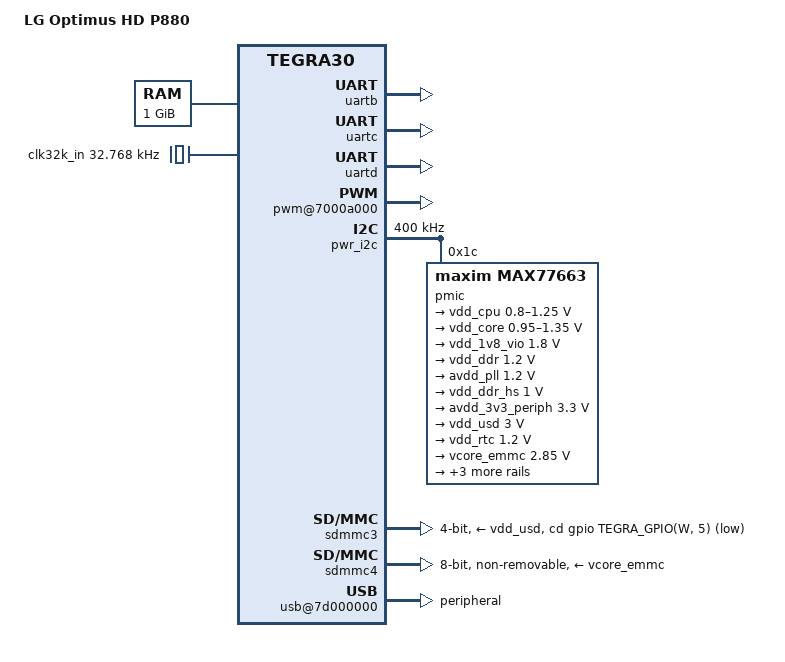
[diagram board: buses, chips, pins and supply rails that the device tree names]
// SPDX-License-Identifier: GPL-2.0
/dts-v1/;

#include <dt-bindings/input/gpio-keys.h>
#include <dt-bindings/input/input.h>
#include <dt-bindings/leds/common.h>
#include <dt-bindings/mfd/lm3533.h>
#include <dt-bindings/mfd/max77620.h>
#include <dt-bindings/thermal/thermal.h>

#include "tegra30.dtsi"
#include "tegra30-cpu-opp.dtsi"
#include "tegra30-cpu-opp-microvolt.dtsi"

/ {
	model = "LG Optimus HD P880";
	compatible = "lge,p880", "nvidia,tegra30";
	chassis-type = "handset";


	aliases {
		mmc0 = &sdmmc4; /* eMMC */
		mmc1 = &sdmmc1; /* WiFi */
		mmc2 = &sdmmc3; /* uSD slot */

		rtc0 = &pmic;
		rtc1 = "/rtc@7000e000";

		display0 = &lcd;
//		display1 = &hdmi;

		serial0 = &uartd; /* Console */
		serial1 = &uartc; /* Bluetooth */
		serial2 = &uartb; /* GPS */
	};

	/*
	 * The decompressor and also some bootloaders rely on a
	 * pre-existing /chosen node to be available to insert the
	 * command line and merge other ATAGS info.
	 */
	chosen { };

	memory@80000000 {
		reg = <0x80000000 0x40000000>;
	};

	reserved-memory {
		#address-cells = <1>;
		#size-cells = <1>;
		ranges;

		linux,cma@80000000 {
			compatible = "shared-dma-pool";
			alloc-ranges = <0x80000000 0x30000000>;
			size = <0x10000000>;		/* 256MiB */
			linux,cma-default;
			reusable;
		};

		ramoops@bed00000 {
			compatible = "ramoops";
			reg = <0xbed00000 0x10000>;	/* 64kB */
			console-size = <0x8000>;	/* 32kB */
			record-size = <0x400>;		/* 1kB */
			ecc-size = <16>;
		};

		trustzone@bfe00000 {
			reg = <0xbfe00000 0x200000>;	/* 2MB */
			no-map;
		};
	};

	vde@6001a000 {
		assigned-clocks = <&tegra_car TEGRA30_CLK_VDE>;
		assigned-clock-parents = <&tegra_car TEGRA30_CLK_PLL_P>;
		assigned-clock-rates = <408000000>;
	};

	uartb: serial@70006040 {
		compatible = "nvidia,tegra30-hsuart";
		/delete-property/ reg-shift;
		status = "okay";

		/* GNSS GSD5T */
	};

	uartc: serial@70006200 {
		compatible = "nvidia,tegra30-hsuart";
		/delete-property/ reg-shift;
		status = "okay";
	};

	uartd: serial@70006300 {
		compatible = "nvidia,tegra30-hsuart";
		/delete-property/ reg-shift;
		status = "okay";

		/* Console */
	};

	pwm@7000a000 {
		status = "okay";
	};

	pwr_i2c: i2c@7000d000 {
		status = "okay";
		clock-frequency = <400000>;

		pmic: max77663@1c {
			compatible = "maxim,max77663";
			reg = <0x1c>;

			interrupts = <GIC_SPI 86 IRQ_TYPE_LEVEL_HIGH>;
			#interrupt-cells = <2>;
			interrupt-controller;

			#gpio-cells = <2>;
			gpio-controller;

			system-power-controller;

			pinctrl-names = "default";
			pinctrl-0 = <&max77663_default>;

			max77663_default: pinmux {
				gpio1 {
					pins = "gpio1";
					function = "gpio";
					drive-open-drain = <1>;
				};

				gpio4 {
					pins = "gpio4";
					function = "32k-out1";
				};
			};

			fps {
				fps0 {
					maxim,fps-event-source = <MAX77620_FPS_EVENT_SRC_EN0>;
				};

				fps1 {
					maxim,fps-event-source = <MAX77620_FPS_EVENT_SRC_EN1>;
				};

				fps2 {
					maxim,fps-event-source = <MAX77620_FPS_EVENT_SRC_EN0>;
				};
			};

			regulators {
				in-sd0-supply = <&vdd_5v0_vbus>;
				in-sd1-supply = <&vdd_5v0_vbus>;
				in-sd2-supply = <&vdd_5v0_vbus>;
				in-sd3-supply = <&vdd_5v0_vbus>;

				in-ldo0-1-supply = <&vdd_1v8_vio>;
				in-ldo2-supply   = <&vdd_3v3_vbat>;
				in-ldo3-5-supply = <&vdd_3v3_vbat>;
				in-ldo4-6-supply = <&vdd_3v3_vbat>;
				in-ldo7-8-supply = <&vdd_1v8_vio>;

				vdd_cpu: sd0 {
					regulator-name = "vdd_cpu";
					regulator-min-microvolt = <800000>;
					regulator-max-microvolt = <1250000>;
					regulator-coupled-with = <&vdd_core>;
					regulator-coupled-max-spread = <300000>;
					regulator-max-step-microvolt = <100000>;
					regulator-always-on;
					regulator-boot-on;

					nvidia,tegra-cpu-regulator;
					maxim,active-fps-source = <MAX77620_FPS_SRC_NONE>;
				};

				vdd_core: sd1 {
					regulator-name = "vdd_core";
					regulator-min-microvolt = <950000>;
					regulator-max-microvolt = <1350000>;
					regulator-coupled-with = <&vdd_cpu>;
					regulator-coupled-max-spread = <300000>;
					regulator-max-step-microvolt = <100000>;
					regulator-always-on;
					regulator-boot-on;

					nvidia,tegra-core-regulator;
					maxim,active-fps-source = <MAX77620_FPS_SRC_1>;
				};

				vdd_1v8_vio: sd2 {
					regulator-name = "vdd_1v8_gen";
					regulator-min-microvolt = <1800000>;
					regulator-max-microvolt = <1800000>;
					regulator-always-on;
					regulator-boot-on;

					maxim,active-fps-source = <MAX77620_FPS_SRC_NONE>;
				};

				sd3 {
					regulator-name = "vdd_ddr";
					regulator-min-microvolt = <1200000>;
					regulator-max-microvolt = <1200000>;
					regulator-always-on;
					regulator-boot-on;

					maxim,active-fps-source = <MAX77620_FPS_SRC_NONE>;
				};

				ldo0 {
					regulator-name = "avdd_pll";
					regulator-min-microvolt = <1200000>;
					regulator-max-microvolt = <1200000>;

					maxim,active-fps-source = <MAX77620_FPS_SRC_1>;
				};

				ldo1 {
					regulator-name = "vdd_ddr_hs";
					regulator-min-microvolt = <1000000>;
					regulator-max-microvolt = <1000000>;
					regulator-always-on;

					maxim,active-fps-source = <MAX77620_FPS_SRC_NONE>;
				};

				avdd_3v3_periph: ldo2 {
					regulator-name = "avdd_usb";
					regulator-min-microvolt = <3300000>;
					regulator-max-microvolt = <3300000>;

					maxim,active-fps-source = <MAX77620_FPS_SRC_NONE>;
				};

				vdd_usd: ldo3 {
					regulator-name = "vdd_sdmmc3";
					regulator-min-microvolt = <3000000>;
					regulator-max-microvolt = <3000000>;

					maxim,active-fps-source = <MAX77620_FPS_SRC_NONE>;
				};

				ldo4 {
					regulator-name = "vdd_rtc";
					regulator-min-microvolt = <1200000>;
					regulator-max-microvolt = <1200000>;
					regulator-always-on;
					regulator-boot-on;

					maxim,active-fps-source = <MAX77620_FPS_SRC_0>;
				};

				vcore_emmc: ldo5 {
					regulator-name = "vdd_ddr_rx";
					regulator-min-microvolt = <2850000>;
					regulator-max-microvolt = <2850000>;
					regulator-always-on;
					regulator-boot-on;

					maxim,active-fps-source = <MAX77620_FPS_SRC_0>;
				};

				avdd_1v8_hdmi_pll: ldo6 {
					regulator-name = "avdd_osc";
					regulator-min-microvolt = <1800000>;
					regulator-max-microvolt = <1800000>;
					regulator-always-on;
					regulator-boot-on;

					maxim,active-fps-source = <MAX77620_FPS_SRC_NONE>;
				};

				vdd_1v2_mhl: ldo7 {
					regulator-name = "vdd_1v2_mhl";
					regulator-min-microvolt = <1050000>;
					regulator-max-microvolt = <1250000>;
					// remove always on once sii9234 is set
					regulator-always-on;

					maxim,active-fps-source = <MAX77620_FPS_SRC_NONE>;
				};

				ldo8 {
					regulator-name = "avdd_dsi_csi";
					regulator-min-microvolt = <1200000>;
					regulator-max-microvolt = <1200000>;

					maxim,active-fps-source = <MAX77620_FPS_SRC_NONE>;
				};
			};
		};
	};

	hda@70030000 {
		status = "okay";
	};

	sdmmc3: sdhci@78000400  {
		status = "okay";
		bus-width = <4>;

		cd-gpios = <&gpio TEGRA_GPIO(W, 5) GPIO_ACTIVE_LOW>;

		vmmc-supply = <&vdd_usd>;
		vqmmc-supply = <&vdd_1v8_vio>;
	};

	sdmmc4: mmc@78000600 {
		status = "okay";
		bus-width = <8>;

		non-removable;
		mmc-ddr-1_8v;

		vmmc-supply = <&vcore_emmc>;
		vqmmc-supply = <&vdd_1v8_vio>;
	};

	/* Micro USB */
	usb@7d000000 {
		compatible = "nvidia,tegra30-udc";
		status = "okay";
		dr_mode = "peripheral";
//		extcon = <&max14526>, <&max14526>;
	};

	usb-phy@7d000000 {
		status = "okay";
		dr_mode = "otg";
		nvidia,hssync-start-delay = <0>;
		nvidia,xcvr-lsfslew = <2>;
		nvidia,xcvr-lsrslew = <2>;
		vbus-supply = <&avdd_3v3_periph>;
	};

	/* PMIC has a built-in 32KHz oscillator which is used by PMC */
	clk32k_in: clock-32k {
		compatible = "fixed-clock";
		#clock-cells = <0>;
		clock-frequency = <32768>;
		clock-output-names = "pmic-oscillator";
	};

	cpus {
		cpu0: cpu@0 {
			cpu-supply = <&vdd_cpu>;
			operating-points-v2 = <&cpu0_opp_table>;
			#cooling-cells = <2>;
		};
		cpu1: cpu@1 {
			cpu-supply = <&vdd_cpu>;
			operating-points-v2 = <&cpu0_opp_table>;
			#cooling-cells = <2>;
		};
		cpu2: cpu@2 {
			cpu-supply = <&vdd_cpu>;
			operating-points-v2 = <&cpu0_opp_table>;
			#cooling-cells = <2>;
		};
		cpu3: cpu@3 {
			cpu-supply = <&vdd_cpu>;
			operating-points-v2 = <&cpu0_opp_table>;
			#cooling-cells = <2>;
		};
	};
